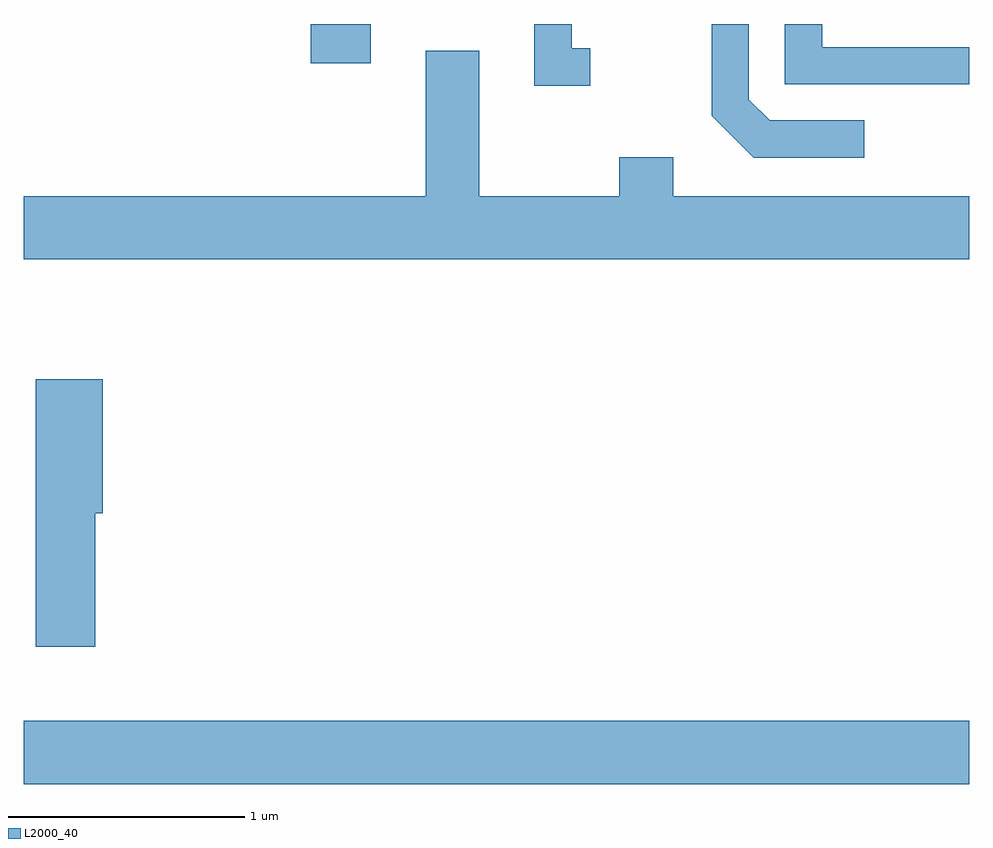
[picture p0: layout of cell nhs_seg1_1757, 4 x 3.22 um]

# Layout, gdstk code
import gdstk
lib = gdstk.Library(unit=1e-6, precision=1e-09)
def R(c, l, rs):  # rectangles x0, y0, x1, y1
    for r in rs: c.add(gdstk.rectangle(r[:2], r[2:], *l))
def P(c, l, *ps):  # polygons
    for p in ps: c.add(gdstk.Polygon(p, *l))
L2000_40 = (2000, 40)

nhs_seg1_1757 = lib.new_cell('nhs_seg1_1757')
R(nhs_seg1_1757, L2000_40, [(239.611,868.496,243.611,868.764), (240.826,871.546,241.079,871.712)])
P(nhs_seg1_1757, L2000_40, [(243.611,871.614),(242.989,871.614),(242.989,871.712),(242.831,871.712),(242.831,871.456),(243.611,871.456)],
  [(243.168,871.304),(242.767,871.304),(242.679,871.392),(242.679,871.712),(242.521,871.712),(242.521,871.324),(242.699,871.146),(243.168,871.146)],
  [(242.008,871.609),(241.929,871.609),(241.929,871.712),(241.771,871.712),(241.771,871.451),(242.008,871.451)],
  [(241.311,871.599),(241.311,870.984),(239.611,870.984),(239.611,870.716),(243.611,870.716),(243.611,870.984),(242.359,870.984),(242.359,871.149),(242.131,871.149),(242.131,870.984),(241.539,870.984),(241.539,871.599)],
  [(239.914,869.641),(239.944,869.641),(239.944,870.209),(239.661,870.209),(239.661,869.076),(239.914,869.076)])

lib.write_gds('nhs_seg1_1757.gds')
